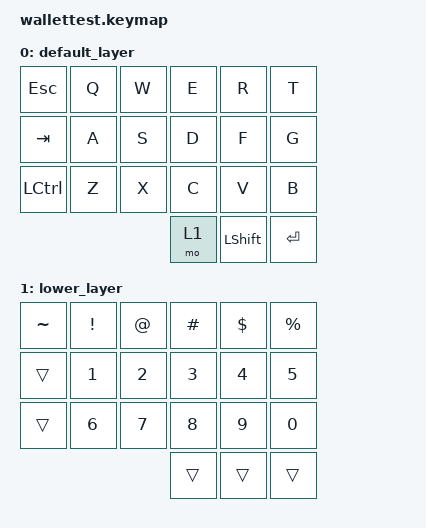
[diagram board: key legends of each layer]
/*
 * Copyright (c) 2021 The ZMK Contributors
 *
 * SPDX-License-Identifier: MIT
 */

#define ZMK_POINTING_DEFAULT_MOVE_VAL 1500  // default: 600
#define ZMK_POINTING_DEFAULT_SCRL_VAL  20    // default: 10

#include <dt-bindings/zmk/pointing.h>
#include <behaviors.dtsi>
#include <dt-bindings/zmk/keys.h>
#include <dt-bindings/zmk/bt.h>
#include <dt-bindings/zmk/outputs.h>



/ {
    keymap {
        compatible = "zmk,keymap";

        default_layer {
            // ------------------------------------------------------------------------------------------
            // |  ESC  |  Q   |  W   |  E   |  R   |  T   |   Y   |  U    |  I   |  O   |   P   | BSPC  |
            // |  TAB  |  A   |  S   |  D   |  F   |  G   |   H   |  J    |  K   |  L   |   ;   |  '    |
            // | CTRL  |  Z   |  X   |  C   |  V   |  B   |   N   |  M    |  ,   |  .   |   /   | LGUI  |
            // |       |      |      | LOWR | LSHFT| ENTER|  ALT  | SPACE | RAIS |      |       |       |


            bindings = <
                &kp ESC     &kp Q    &kp W    &kp E    &kp R      &kp T       
                &kp TAB     &kp A    &kp S    &kp D    &kp F      &kp G       
                &kp LCTRL   &kp Z    &kp X    &kp C    &kp V      &kp B       
                                              &mo 1    &kp LSHFT  &kp ENTER   
            >;
        };

        lower_layer {
            // -------------------------------------------------------------------------------------------
            // |   ~   |  !   |  @   |  #   |  $   |  %   |   ^   |   &   |  *   |  (   |   )   |  DEL  |
            // |       |  1   |  2   |  3   |  4   |  5   |   -   |   =   |  +   |  {   |   }   |   |   |
            // |       |  6   |  7   |  8   |  9   |  10  |   _   | LS(#) |LS(|) |      |       |       |
            // |       |      |      |      |      |      |       |       |      |      |       |       |
            bindings = <
                &kp TILDE  &kp EXCL  &kp AT   &kp HASH &kp DLLR  &kp PRCNT    
                &trans     &kp N1    &kp N2   &kp N3   &kp N4    &kp N5       
                &trans     &kp N6    &kp N7   &kp N8   &kp N9    &kp N0       
                                              &trans   &trans    &trans       
            >;
        };

    };
};
